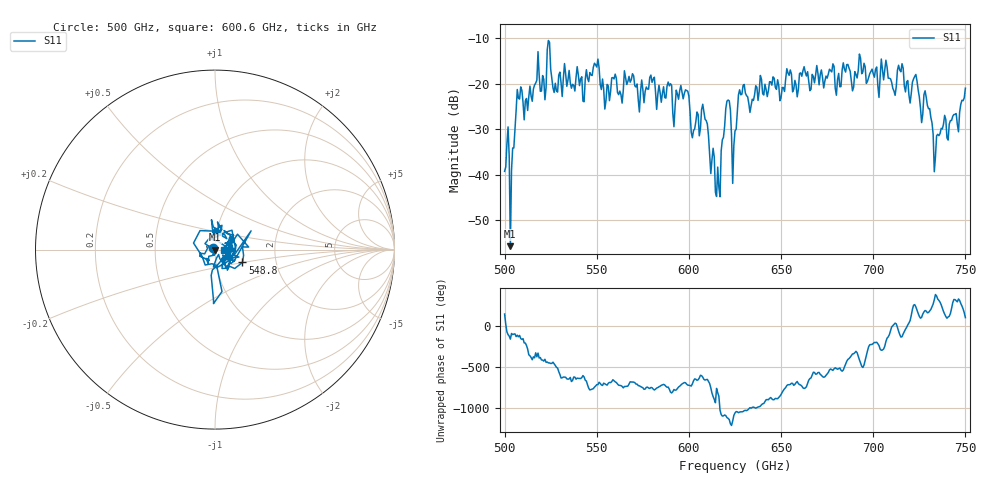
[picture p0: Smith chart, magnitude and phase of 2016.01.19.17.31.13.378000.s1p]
!Created with skrf (http://scikit-rf.org).
# GHz S RI R 50.0
!freq ReS11 ImS11
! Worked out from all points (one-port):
!   401 points, 500 GHz to 750 GHz, reference 50 ohm
!   lowest |S11| = -55.7 dB at 503.1 GHz (marker M1), VSWR 1.00, Z = 49.8 - j0.0469 ohm
!   |S11| at or under -10 dB: start of sweep to end of sweep
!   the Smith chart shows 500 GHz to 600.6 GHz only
!   S11 on the Smith chart (normalised r, x): 500 GHz: 0.98, +0.01; 548.8 GHz: 1.34, -0.20; 600.6 GHz: 1.10, -0.01
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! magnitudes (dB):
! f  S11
! 500 GHz  -39.2
! 503.1 GHz  -55.7
! 504.4 GHz  -34.1
! 505.6 GHz  -30.0
! 508.1 GHz  -23.3
! 521.2 GHz  -19.0
! 524.4 GHz  -10.8
! 527.5 GHz  -19.9
! 531.2 GHz  -22.8
! 548.8 GHz  -15.4
! 562.5 GHz  -21.6
! 568.8 GHz  -19.0
! 593.8 GHz  -22.2
! 600.6 GHz  -26.2
! 608.8 GHz  -27.8
! 615.6 GHz  -38.3
! 621.2 GHz  -23.6
! 625 GHz  -30.3
! 628.8 GHz  -22.3
! 656.2 GHz  -21.7
! 687.5 GHz  -17.2
! 705.6 GHz  -19.1
! 711.2 GHz  -21.6
! 715 GHz  -17.3
! 718.8 GHz  -19.3
! 728.8 GHz  -22.9
! 734.4 GHz  -31.4
! 750 GHz  -20.9
